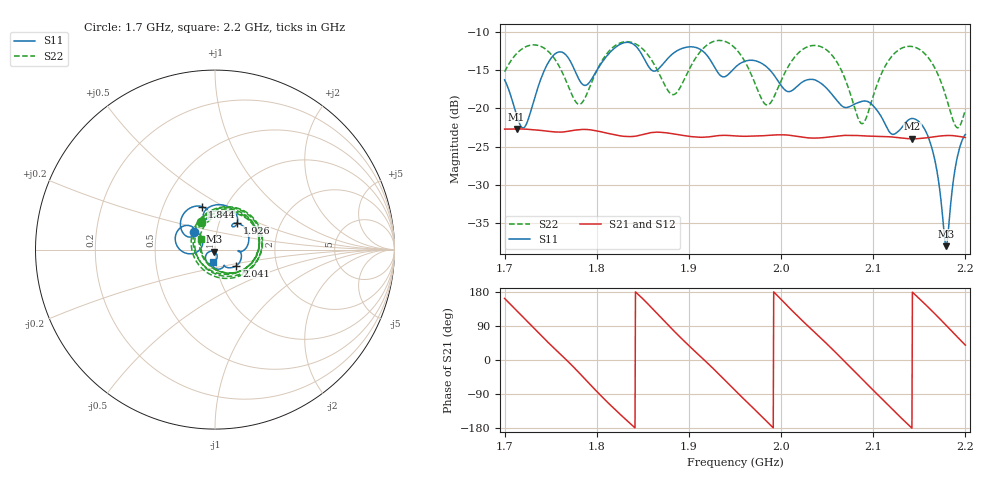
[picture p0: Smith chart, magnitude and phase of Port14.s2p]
# Hz S RI R 50
! CMT, CMT808U, 21440046, 21.4.3/4
! Date: 4/9/2026 1:51:31 AM
! Data: Format (Calibration Info)
! Freq	S11:Re/Im(F2)	S41:Re/Im(F2)	S14:Re/Im(F2)	S44:Re/Im(F2)
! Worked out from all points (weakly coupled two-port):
!   1001 points, 1.7 GHz to 2.2 GHz, reference 50 ohm
!   highest |S21| = -22.69 dB at 1.713 GHz (marker M1); lowest = -24.0 dB at 2.143 GHz (marker M2)
!   lowest |S11| = -38.0 dB at 2.179 GHz (marker M3), VSWR 1.03, Z = 49.4 - j1.12 ohm
!   |S11| at or under -10 dB: start of sweep to end of sweep
!   |S22| runs from -22.5 to -11.1 dB; largest |S21 - S12| = 0.001
!   S11 on the Smith chart (normalised r, x): 1.7 GHz: 0.77, +0.15; 1.844 GHz: 0.78, +0.40; 1.926 GHz: 1.22, +0.38; 2.041 GHz: 1.25, -0.23; 2.2 GHz: 0.97, -0.13
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1.7e9  -0.119 0.0971  -0.0697 0.0221  -0.0697 0.0212  -0.0786 0.1546
1.713e9  -0.0694 0.0577  -0.0476 0.0559  -0.048 0.055  0.0384 0.2244
1.7225e9  -0.0755 0.0124  -0.0211 0.0699  -0.0219 0.0694  0.1387 0.2103
1.757e9  -0.2212 0.0686  0.0642 0.0278  0.0635 0.0285  0.1686 -0.1049
1.7835e9  -0.1103 0.095  0.0552 -0.0474  0.0556 -0.0465  -0.1011 -0.038
1.8145e9  -0.1922 0.1307  -0.0322 -0.0599  -0.0313 -0.0602  0.0533 0.2349
1.844e9  -0.07 0.2385  -0.0658 0.00545  -0.0657 0.00458  0.2598 0.00802
1.867e9  -0.0579 0.1714  -0.0333 0.0613  -0.034 0.0607  0.0601 -0.1607
1.8935e9  -0.00494 0.2473  0.0399 0.0532  0.039 0.0535  -0.1299 0.0713
1.926e9  0.1242 0.1491  0.0609 -0.0243  0.0611 -0.0234  0.1788 0.2056
1.95e9  0.1117 0.1473  0.0112 -0.065  0.0121 -0.0647  0.2437 -0.0449
1.985e9  0.183 0.0275  -0.0636 -0.0192  -0.0632 -0.0201  -0.0938 -0.0472
2.0115e9  0.1302 -0.00568  -0.0439 0.0498  -0.0445 0.049  0.00201 0.2037
2.0335e9  0.1402 -0.0652  0.0113 0.0629  0.0103 0.0629  0.2133 0.1434
2.041e9  0.1193 -0.089  0.0293 0.0569  0.0284 0.0572  0.2449 0.0725
2.0875e9  0.0359 -0.105  0.0429 -0.0504  0.0435 -0.0497  -0.0703 -0.037
2.117e9  -0.0138 -0.0695  -0.0334 -0.0559  -0.0326 -0.0563  0.0458 0.2015
2.1425e9  -0.0304 -0.0803  -0.0631 0.00106  -0.0631 0.000146  0.2404 0.0797
2.1635e9  -0.0483 -0.0268  -0.0417 0.0496  -0.0424 0.0489  0.1694 -0.1042
2.179e9  -0.00541 -0.0113  -0.00203 0.0663  -0.003 0.0662  0.0175 -0.1175
2.1905e9  0.0118 -0.0441  0.0303 0.0585  0.0294 0.0589  -0.0656 -0.0365
2.2e9  -0.0112 -0.0666  0.0499 0.0407  0.0493 0.0414  -0.0779 0.0592
